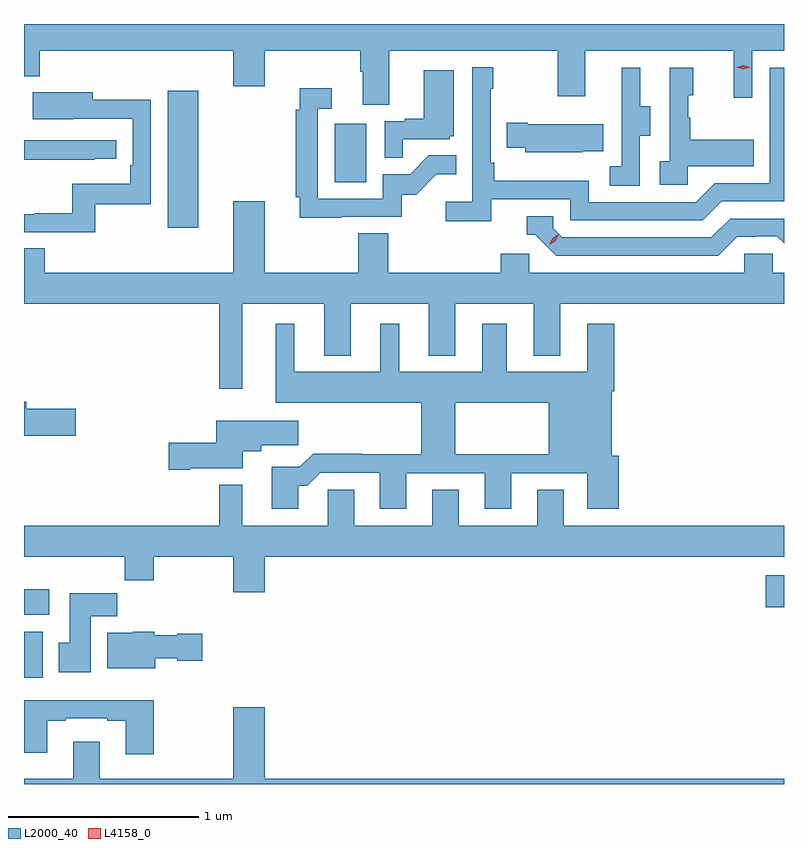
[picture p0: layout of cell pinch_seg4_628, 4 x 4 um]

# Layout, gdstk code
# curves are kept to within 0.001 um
import gdstk
lib = gdstk.Library(unit=1e-6, precision=1e-09)
def R(c, l, rs):  # rectangles x0, y0, x1, y1
    for r in rs: c.add(gdstk.rectangle(r[:2], r[2:], *l))
def P(c, l, *ps):  # polygons
    for p in ps: c.add(gdstk.Polygon(p, *l))
L2000_40 = (2000, 40)
L4158_0 = (4158, 0)

pinch_seg4_628 = lib.new_cell('pinch_seg4_628')
R(pinch_seg4_628, L2000_40, [(1027.042,760.22,1027.141,760.462), (1027.042,760.55,1027.174,760.684), (1030.947,760.589,1031.042,760.759), (1027.799,762.588,1027.96,763.309), (1028.678,762.828,1028.842,763.135)])
P(pinch_seg4_628, L2000_40, [(1028.965,763.52),(1029.85,763.52),(1029.85,763.281),(1029.997,763.281),(1029.997,763.52),(1030.778,763.52),(1030.778,763.272),(1030.875,763.272),(1030.875,763.52),(1031.042,763.52),(1031.042,763.66),(1027.042,763.66),(1027.042,763.385),(1027.124,763.385),(1027.124,763.52),(1028.144,763.52),(1028.144,763.332),(1028.308,763.332),(1028.308,763.52),(1028.813,763.52),(1028.813,763.408),(1028.825,763.408),(1028.825,763.234),(1028.965,763.234)],
  [(1029.5,762.738),(1029.918,762.738),(1029.918,762.627),(1030.615,762.627),(1030.714,762.726),(1031.042,762.726),(1031.042,763.431),(1030.968,763.431),(1030.968,762.822),(1030.677,762.822),(1030.578,762.723),(1030.014,762.723),(1030.014,762.835),(1029.518,762.835),(1029.518,762.931),(1029.498,762.931),(1029.498,763.319),(1029.511,763.319),(1029.511,763.432),(1029.402,763.432),(1029.402,762.724),(1029.261,762.724),(1029.261,762.622),(1029.5,762.622)],
  [(1030.536,762.911),(1030.883,762.911),(1030.883,763.051),(1030.549,763.051),(1030.549,763.166),(1030.539,763.166),(1030.539,763.284),(1030.564,763.284),(1030.564,763.429),(1030.44,763.429),(1030.44,762.938),(1030.389,762.938),(1030.389,762.813),(1030.536,762.813)],
  [(1030.284,763.072),(1030.339,763.072),(1030.339,763.227),(1030.285,763.227),(1030.285,763.429),(1030.187,763.429),(1030.187,763.215),(1030.188,763.215),(1030.188,762.911),(1030.125,762.911),(1030.125,762.808),(1030.284,762.808)],
  [(1029.035,763.053),(1029.282,763.053),(1029.282,763.068),(1029.304,763.068),(1029.304,763.417),(1029.146,763.417),(1029.146,763.162),(1029.047,763.162),(1029.047,763.149),(1028.94,763.149),(1028.94,762.955),(1029.035,762.955)],
  [(1028.711,762.645),(1029.03,762.645),(1029.03,762.762),(1029.106,762.762),(1029.213,762.869),(1029.317,762.869),(1029.317,762.968),(1029.173,762.968),(1029.075,762.87),(1028.931,762.87),(1028.931,762.741),(1028.589,762.741),(1028.589,763.215),(1028.662,763.215),(1028.662,763.321),(1028.492,763.321),(1028.492,763.208),(1028.473,763.208),(1028.473,762.748),(1028.492,762.748),(1028.492,762.64),(1028.711,762.64)],
  [(1027.417,762.711),(1027.71,762.711),(1027.71,763.262),(1027.405,763.262),(1027.405,763.3),(1027.087,763.3),(1027.087,763.16),(1027.301,763.16),(1027.301,763.161),(1027.614,763.161),(1027.614,762.916),(1027.601,762.916),(1027.601,762.82),(1027.296,762.82),(1027.296,762.665),(1027.099,762.665),(1027.099,762.66),(1027.042,762.66),(1027.042,762.564),(1027.417,762.564)],
  [(1029.983,762.989),(1030.091,762.989),(1030.091,763.132),(1029.694,763.132),(1029.694,763.14),(1029.583,763.14),(1029.583,763.01),(1029.681,763.01),(1029.681,762.986),(1029.983,762.986)],
  [(1027.415,762.951),(1027.528,762.951),(1027.528,763.047),(1027.042,763.047),(1027.042,762.946),(1027.415,762.946)],
  [(1028.308,762.727),(1028.144,762.727),(1028.144,762.352),(1027.151,762.352),(1027.151,762.479),(1027.042,762.479),(1027.042,762.188),(1028.07,762.188),(1028.07,761.739),(1028.191,761.739),(1028.191,762.188),(1028.621,762.188),(1028.621,761.915),(1028.761,761.915),(1028.761,762.188),(1029.173,762.188),(1029.173,761.915),(1029.313,761.915),(1029.313,762.188),(1029.725,762.188),(1029.725,761.915),(1029.865,761.915),(1029.865,762.188),(1031.042,762.188),(1031.042,762.352),(1030.983,762.352),(1030.983,762.45),(1030.833,762.45),(1030.833,762.352),(1029.702,762.352),(1029.702,762.45),(1029.551,762.45),(1029.551,762.352),(1028.96,762.352),(1028.96,762.56),(1028.8,762.56),(1028.8,762.352),(1028.308,762.352)],
  [(1030.795,762.54),(1030.902,762.54),(1030.902,762.543),(1031.005,762.543),(1031.042,762.506),(1031.042,762.636),(1030.758,762.636),(1030.659,762.537),(1029.876,762.537),(1029.828,762.585),(1029.828,762.648),(1029.689,762.648),(1029.689,762.552),(1029.732,762.552),(1029.843,762.441),(1030.696,762.441)],
  [(1028.819,761.399),(1028.564,761.399),(1028.494,761.329),(1028.345,761.329),(1028.345,761.109),(1028.485,761.109),(1028.485,761.231),(1028.534,761.231),(1028.601,761.298),(1028.915,761.298),(1028.915,761.109),(1029.055,761.109),(1029.055,761.295),(1029.467,761.295),(1029.467,761.109),(1029.607,761.109),(1029.607,761.295),(1030.007,761.295),(1030.007,761.109),(1030.172,761.109),(1030.172,761.388),(1030.135,761.388),(1030.135,761.726),(1030.148,761.726),(1030.148,762.082),(1030.007,762.082),(1030.007,761.83),(1029.583,761.83),(1029.583,762.082),(1029.455,762.082),(1029.455,761.83),(1029.016,761.83),(1029.016,762.082),(1028.918,762.082),(1028.918,761.83),(1028.464,761.83),(1028.464,762.082),(1028.366,762.082),(1028.366,761.666),(1029.134,761.666),(1029.134,761.396),(1029.312,761.396),(1029.312,761.666),(1029.803,761.666),(1029.803,761.396),(1028.819,761.396)],
  [(1027.315,761.636),(1027.054,761.636),(1027.054,761.672),(1027.042,761.672),(1027.042,761.494),(1027.315,761.494)],
  [(1027.918,761.321),(1028.194,761.321),(1028.194,761.411),(1028.29,761.411),(1028.29,761.443),(1028.485,761.443),(1028.485,761.572),(1028.054,761.572),(1028.054,761.456),(1027.805,761.456),(1027.805,761.314),(1027.918,761.314)],
  [(1028.308,760.856),(1031.042,760.856),(1031.042,761.02),(1029.883,761.02),(1029.883,761.21),(1029.743,761.21),(1029.743,761.02),(1029.331,761.02),(1029.331,761.21),(1029.191,761.21),(1029.191,761.02),(1028.779,761.02),(1028.779,761.21),(1028.64,761.21),(1028.64,761.02),(1028.191,761.02),(1028.191,761.236),(1028.07,761.236),(1028.07,761.02),(1027.042,761.02),(1027.042,760.856),(1027.573,760.856),(1027.573,760.732),(1027.725,760.732),(1027.725,760.856),(1028.144,760.856),(1028.144,760.668),(1028.308,760.668)],
  [(1027.393,760.544),(1027.532,760.544),(1027.532,760.663),(1027.283,760.663),(1027.283,760.404),(1027.226,760.404),(1027.226,760.248),(1027.393,760.248)],
  [(1027.732,760.322),(1027.848,760.322),(1027.848,760.31),(1027.981,760.31),(1027.981,760.452),(1027.848,760.452),(1027.848,760.444),(1027.728,760.444),(1027.728,760.462),(1027.614,760.462),(1027.614,760.456),(1027.481,760.456),(1027.481,760.268),(1027.732,760.268)],
  [(1027.725,760.102),(1027.042,760.102),(1027.042,759.824),(1027.165,759.824),(1027.165,759.993),(1027.261,759.993),(1027.261,760.005),(1027.481,760.005),(1027.481,759.993),(1027.577,759.993),(1027.577,759.816),(1027.725,759.816)],
  [(1028.144,760.063),(1028.144,759.688),(1027.441,759.688),(1027.441,759.883),(1027.301,759.883),(1027.301,759.688),(1027.042,759.688),(1027.042,759.66),(1031.042,759.66),(1031.042,759.688),(1028.308,759.688),(1028.308,760.063)])
P(pinch_seg4_628, L4158_0, [(1030.828,763.423),(1030.792,763.433),(1030.792,763.433),(1030.792,763.433),(1030.828,763.443),(1030.864,763.433),(1030.864,763.432),(1030.864,763.432)],
  [(1029.806,762.498),(1029.806,762.498),(1029.822,762.531),(1029.852,762.55),(1029.853,762.55),(1029.853,762.55),(1029.837,762.517),(1029.806,762.498)])

lib.write_gds('pinch_seg4_628.gds')
